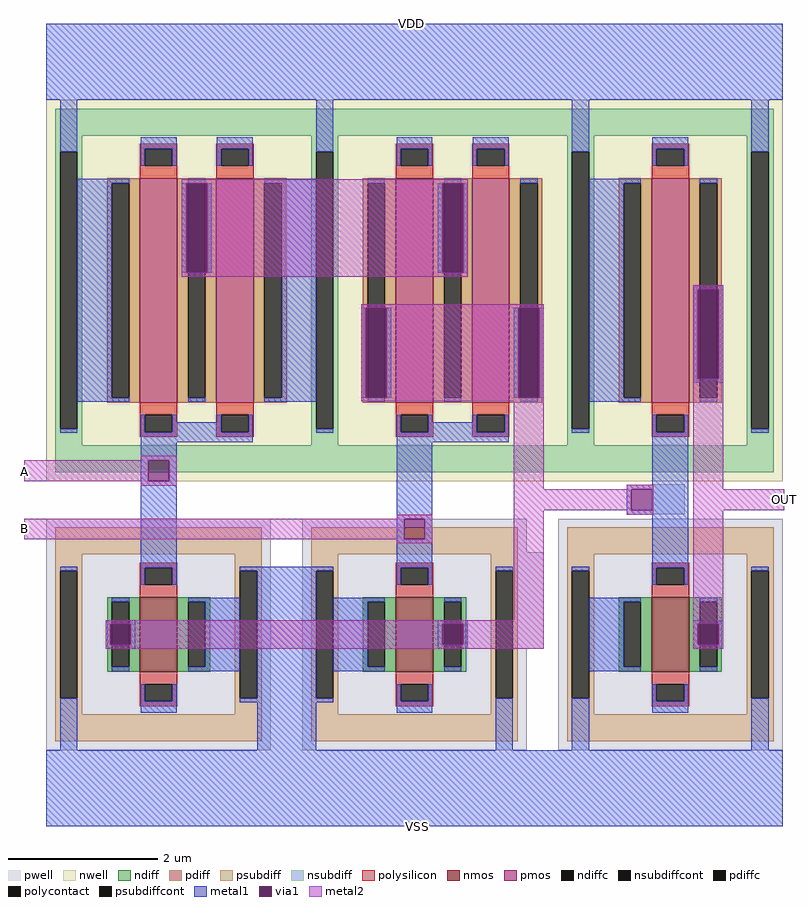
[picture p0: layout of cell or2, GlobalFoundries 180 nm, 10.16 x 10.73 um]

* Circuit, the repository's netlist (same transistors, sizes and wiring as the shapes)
* NGSPICE file created from or2.ext - technology: gf180mcuD

.subckt nor2 VDD VSS OUT A B
X0 a_2130_n110# A VDD VDD pfet_03v3 ad=0.78p pd=3.52u as=1.32p ps=6.88u w=3u l=0.5u
X1 OUT B VSS VSS nfet_03v3 ad=0.44p pd=2.88u as=0.44p ps=2.88u w=1u l=0.5u
X2 VSS A OUT VSS nfet_03v3 ad=0.44p pd=2.88u as=0.44p ps=2.88u w=1u l=0.5u
X3 OUT B a_2130_n110# VDD pfet_03v3 ad=1.32p pd=6.88u as=0.78p ps=3.52u w=3u l=0.5u
X4 VDD A a_2130_n110# VDD pfet_03v3 ad=1.32p pd=6.88u as=0.78p ps=3.52u w=3u l=0.5u
X5 a_2130_n110# B OUT VDD pfet_03v3 ad=0.78p pd=3.52u as=1.32p ps=6.88u w=3u l=0.5u
.ends

.subckt inv2 in vdd out vss
X0 out in vdd vdd pfet_03v3 ad=1.32p pd=6.88u as=1.32p ps=6.88u w=3u l=0.5u
X1 out in vss vss nfet_03v3 ad=0.44p pd=2.88u as=0.44p ps=2.88u w=1u l=0.5u
.ends

.subckt or2 VDD VSS OUT A B
Xnor2_0 VDD VSS inv2_0/in A B nor2
Xinv2_0 inv2_0/in VDD OUT VSS inv2
.ends

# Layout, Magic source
magic
tech gf180mcuD
magscale 1 10
<< metal1 >>
rect 106 2400 2074 2403
rect 1389 260 1487 460
rect 106 257 2074 260
<< metal2 >>
rect 46 1180 50 1236
rect 2074 1102 2078 1158
rect 46 1024 50 1080
use inv2  inv2_0
transform 1 0 224 0 1 1630
box 1250 -1370 1850 770
use nor2  nor2_0
transform 1 0 -1674 0 1 1500
box 1724 -1240 3268 900
<< labels >>
rlabel metal1 1083 2403 1083 2403 1 VDD
port 0 n
rlabel metal1 1098 257 1098 257 5 VSS
port 1 s
rlabel metal2 2078 1130 2078 1130 3 OUT
port 2 e
rlabel metal2 46 1207 46 1207 7 A
port 3 w
rlabel metal2 46 1052 46 1052 7 B
port 4 w
<< end >>

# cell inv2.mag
magic
tech gf180mcuD
magscale 1 10
<< nwell >>
rect 1250 -450 1850 570
<< pwell >>
rect 1502 -539 1588 -459
rect 1250 -1170 1850 -550
<< nmos >>
rect 1500 -960 1600 -760
<< pmos >>
rect 1500 -240 1600 360
<< ndiff >>
rect 1412 -773 1500 -760
rect 1412 -947 1425 -773
rect 1471 -947 1500 -773
rect 1412 -960 1500 -947
rect 1600 -773 1688 -760
rect 1600 -947 1629 -773
rect 1675 -947 1688 -773
rect 1600 -960 1688 -947
<< pdiff >>
rect 1412 347 1500 360
rect 1412 -227 1425 347
rect 1471 -227 1500 347
rect 1412 -240 1500 -227
rect 1600 347 1688 360
rect 1600 -227 1629 347
rect 1675 -227 1688 347
rect 1600 -240 1688 -227
<< ndiffc >>
rect 1425 -947 1471 -773
rect 1629 -947 1675 -773
<< pdiffc >>
rect 1425 -227 1471 347
rect 1629 -227 1675 347
<< psubdiff >>
rect 1274 -646 1826 -574
rect 1274 -690 1346 -646
rect 1274 -1030 1287 -690
rect 1333 -1030 1346 -690
rect 1754 -690 1826 -646
rect 1274 -1074 1346 -1030
rect 1754 -1030 1767 -690
rect 1813 -1030 1826 -690
rect 1754 -1074 1826 -1030
rect 1274 -1146 1826 -1074
<< nsubdiff >>
rect 1274 474 1826 546
rect 1274 430 1346 474
rect 1274 -310 1287 430
rect 1333 -310 1346 430
rect 1754 430 1826 474
rect 1274 -354 1346 -310
rect 1754 -310 1767 430
rect 1813 -310 1826 430
rect 1754 -354 1826 -310
rect 1274 -426 1826 -354
<< psubdiffcont >>
rect 1287 -1030 1333 -690
rect 1767 -1030 1813 -690
<< nsubdiffcont >>
rect 1287 -310 1333 430
rect 1767 -310 1813 430
<< polysilicon >>
rect 1500 439 1600 452
rect 1500 393 1513 439
rect 1587 393 1600 439
rect 1500 360 1600 393
rect 1500 -273 1600 -240
rect 1500 -319 1513 -273
rect 1587 -319 1600 -273
rect 1500 -332 1600 -319
rect 1500 -681 1600 -668
rect 1500 -727 1513 -681
rect 1587 -727 1600 -681
rect 1500 -760 1600 -727
rect 1500 -993 1600 -960
rect 1500 -1039 1513 -993
rect 1587 -1039 1600 -993
rect 1500 -1052 1600 -1039
<< polycontact >>
rect 1513 393 1587 439
rect 1513 -319 1587 -273
rect 1513 -727 1587 -681
rect 1513 -1039 1587 -993
<< metal1 >>
rect 1250 570 1850 770
rect 1287 430 1333 570
rect 1502 439 1598 470
rect 1502 393 1513 439
rect 1587 393 1598 439
rect 1767 430 1813 570
rect 1333 347 1471 358
rect 1333 -227 1425 347
rect 1629 347 1675 358
rect 1612 63 1629 73
rect 1675 63 1692 73
rect 1612 -177 1624 63
rect 1680 -177 1692 63
rect 1612 -187 1629 -177
rect 1333 -238 1471 -227
rect 1675 -187 1692 -177
rect 1629 -238 1675 -227
rect 1287 -321 1333 -310
rect 1502 -319 1513 -273
rect 1587 -319 1598 -273
rect 1502 -460 1598 -319
rect 1767 -321 1813 -310
rect 1434 -472 1598 -460
rect 1434 -528 1446 -472
rect 1502 -528 1598 -472
rect 1434 -540 1598 -528
rect 1287 -690 1333 -679
rect 1502 -681 1598 -540
rect 1502 -727 1513 -681
rect 1587 -727 1598 -681
rect 1767 -690 1813 -679
rect 1333 -773 1471 -762
rect 1333 -947 1425 -773
rect 1629 -773 1675 -762
rect 1612 -832 1629 -822
rect 1675 -832 1692 -822
rect 1612 -888 1624 -832
rect 1680 -888 1692 -832
rect 1612 -898 1629 -888
rect 1333 -958 1471 -947
rect 1675 -898 1692 -888
rect 1629 -958 1675 -947
rect 1287 -1170 1333 -1030
rect 1502 -1039 1513 -993
rect 1587 -1039 1598 -993
rect 1502 -1070 1598 -1039
rect 1767 -1170 1813 -1030
rect 1250 -1370 1850 -1170
<< via1 >>
rect 1624 -177 1629 63
rect 1629 -177 1675 63
rect 1675 -177 1680 63
rect 1446 -528 1502 -472
rect 1624 -888 1629 -832
rect 1629 -888 1675 -832
rect 1675 -888 1680 -832
<< metal2 >>
rect 1612 63 1692 73
rect 1612 -177 1624 63
rect 1680 -177 1692 63
rect 1434 -472 1504 -460
rect 1250 -528 1446 -472
rect 1502 -528 1504 -472
rect 1434 -540 1504 -528
rect 1612 -472 1692 -177
rect 1612 -528 1850 -472
rect 1612 -832 1692 -528
rect 1612 -888 1624 -832
rect 1680 -888 1692 -832
rect 1612 -898 1692 -888
<< labels >>
rlabel metal2 1250 -499 1250 -499 7 in
port 0 w
rlabel metal1 1545 770 1545 770 1 vdd
port 1 n
rlabel metal2 1850 -499 1850 -499 3 out
port 2 e
rlabel metal1 1555 -1370 1555 -1370 5 vss
port 3 s
<< end >>

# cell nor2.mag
magic
tech gf180mcuD
magscale 1 10
<< nwell >>
rect 1780 -320 3268 700
<< pwell >>
rect 1780 -1040 2380 -420
rect 2464 -510 3064 -420
rect 2464 -768 3110 -510
rect 2464 -1040 3064 -768
<< nmos >>
rect 2030 -830 2130 -630
rect 2714 -830 2814 -630
<< pmos >>
rect 2030 -110 2130 490
rect 2234 -110 2334 490
rect 2714 -110 2814 490
rect 2918 -110 3018 490
<< ndiff >>
rect 1942 -643 2030 -630
rect 1942 -817 1955 -643
rect 2001 -817 2030 -643
rect 1942 -830 2030 -817
rect 2130 -643 2218 -630
rect 2130 -817 2159 -643
rect 2205 -817 2218 -643
rect 2130 -830 2218 -817
rect 2626 -643 2714 -630
rect 2626 -817 2639 -643
rect 2685 -817 2714 -643
rect 2626 -830 2714 -817
rect 2814 -643 2902 -630
rect 2814 -817 2843 -643
rect 2889 -817 2902 -643
rect 2814 -830 2902 -817
<< pdiff >>
rect 1942 477 2030 490
rect 1942 -97 1955 477
rect 2001 -97 2030 477
rect 1942 -110 2030 -97
rect 2130 477 2234 490
rect 2130 -97 2159 477
rect 2205 -97 2234 477
rect 2130 -110 2234 -97
rect 2334 477 2422 490
rect 2334 -97 2363 477
rect 2409 -97 2422 477
rect 2334 -110 2422 -97
rect 2626 477 2714 490
rect 2626 -97 2639 477
rect 2685 -97 2714 477
rect 2626 -110 2714 -97
rect 2814 477 2918 490
rect 2814 -97 2843 477
rect 2889 -97 2918 477
rect 2814 -110 2918 -97
rect 3018 477 3106 490
rect 3018 -97 3047 477
rect 3093 -97 3106 477
rect 3018 -110 3106 -97
<< ndiffc >>
rect 1955 -817 2001 -643
rect 2159 -817 2205 -643
rect 2639 -817 2685 -643
rect 2843 -817 2889 -643
<< pdiffc >>
rect 1955 -97 2001 477
rect 2159 -97 2205 477
rect 2363 -97 2409 477
rect 2639 -97 2685 477
rect 2843 -97 2889 477
rect 3047 -97 3093 477
<< psubdiff >>
rect 1804 -516 2356 -444
rect 1804 -560 1876 -516
rect 1804 -900 1817 -560
rect 1863 -900 1876 -560
rect 2284 -560 2356 -516
rect 1804 -944 1876 -900
rect 2284 -900 2297 -560
rect 2343 -900 2356 -560
rect 2284 -944 2356 -900
rect 1804 -1016 2356 -944
rect 2488 -516 3040 -444
rect 2488 -560 2560 -516
rect 2488 -900 2501 -560
rect 2547 -900 2560 -560
rect 2968 -560 3040 -516
rect 2488 -944 2560 -900
rect 2968 -900 2981 -560
rect 3027 -900 3040 -560
rect 2968 -944 3040 -900
rect 2488 -1016 3040 -944
<< nsubdiff >>
rect 1804 604 3244 676
rect 1804 560 1876 604
rect 1804 -180 1817 560
rect 1863 -180 1876 560
rect 2488 560 2560 604
rect 1804 -224 1876 -180
rect 2488 -180 2501 560
rect 2547 -180 2560 560
rect 3172 560 3244 604
rect 2488 -224 2560 -180
rect 3172 -180 3185 560
rect 3231 -180 3244 560
rect 3172 -224 3244 -180
rect 1804 -296 3244 -224
<< psubdiffcont >>
rect 1817 -900 1863 -560
rect 2297 -900 2343 -560
rect 2501 -900 2547 -560
rect 2981 -900 3027 -560
<< nsubdiffcont >>
rect 1817 -180 1863 560
rect 2501 -180 2547 560
rect 3185 -180 3231 560
<< polysilicon >>
rect 2030 569 2130 582
rect 2030 523 2043 569
rect 2117 523 2130 569
rect 2030 490 2130 523
rect 2234 569 2334 582
rect 2234 523 2247 569
rect 2321 523 2334 569
rect 2234 490 2334 523
rect 2030 -143 2130 -110
rect 2030 -189 2043 -143
rect 2117 -189 2130 -143
rect 2030 -202 2130 -189
rect 2234 -143 2334 -110
rect 2234 -189 2247 -143
rect 2321 -189 2334 -143
rect 2234 -202 2334 -189
rect 2714 569 2814 582
rect 2714 523 2727 569
rect 2801 523 2814 569
rect 2714 490 2814 523
rect 2918 569 3018 582
rect 2918 523 2931 569
rect 3005 523 3018 569
rect 2918 490 3018 523
rect 2714 -143 2814 -110
rect 2714 -189 2727 -143
rect 2801 -189 2814 -143
rect 2714 -202 2814 -189
rect 2918 -143 3018 -110
rect 2918 -189 2931 -143
rect 3005 -189 3018 -143
rect 2918 -202 3018 -189
rect 2030 -551 2130 -538
rect 2030 -597 2043 -551
rect 2117 -597 2130 -551
rect 2030 -630 2130 -597
rect 2030 -863 2130 -830
rect 2030 -909 2043 -863
rect 2117 -909 2130 -863
rect 2030 -922 2130 -909
rect 2714 -551 2814 -538
rect 2714 -597 2727 -551
rect 2801 -597 2814 -551
rect 2714 -630 2814 -597
rect 2714 -863 2814 -830
rect 2714 -909 2727 -863
rect 2801 -909 2814 -863
rect 2714 -922 2814 -909
<< polycontact >>
rect 2043 523 2117 569
rect 2247 523 2321 569
rect 2043 -189 2117 -143
rect 2247 -189 2321 -143
rect 2727 523 2801 569
rect 2931 523 3005 569
rect 2727 -189 2801 -143
rect 2931 -189 3005 -143
rect 2043 -597 2117 -551
rect 2043 -909 2117 -863
rect 2727 -597 2801 -551
rect 2727 -909 2801 -863
<< metal1 >>
rect 1780 700 3268 900
rect 1817 560 1863 700
rect 2032 569 2128 600
rect 2032 523 2043 569
rect 2117 523 2128 569
rect 2236 569 2332 600
rect 2236 523 2247 569
rect 2321 523 2332 569
rect 2501 560 2547 700
rect 1863 477 2001 488
rect 2159 477 2205 488
rect 2363 477 2501 488
rect 1863 -97 1955 477
rect 2142 237 2154 477
rect 2210 237 2222 477
rect 1863 -108 2001 -97
rect 2159 -108 2205 -97
rect 2409 -97 2501 477
rect 2363 -108 2501 -97
rect 1817 -191 1863 -180
rect 2032 -189 2043 -143
rect 2117 -163 2128 -143
rect 2236 -163 2247 -143
rect 2117 -189 2247 -163
rect 2321 -189 2332 -143
rect 2032 -216 2332 -189
rect 2716 569 2812 600
rect 2716 523 2727 569
rect 2801 523 2812 569
rect 2920 569 3016 600
rect 2920 523 2931 569
rect 3005 523 3016 569
rect 3185 560 3231 700
rect 2639 477 2685 488
rect 2843 477 2889 488
rect 3047 477 3093 488
rect 2826 237 2838 477
rect 2894 237 2906 477
rect 2622 -97 2634 143
rect 2690 -97 2702 143
rect 3030 -97 3042 143
rect 3098 -97 3110 143
rect 2639 -108 2685 -97
rect 2843 -108 2889 -97
rect 3047 -108 3093 -97
rect 2501 -191 2547 -180
rect 2716 -189 2727 -143
rect 2801 -163 2812 -143
rect 2920 -163 2931 -143
rect 2801 -189 2931 -163
rect 3005 -189 3016 -143
rect 2716 -216 3016 -189
rect 3185 -191 3231 -180
rect 2032 -264 2128 -216
rect 2032 -320 2052 -264
rect 2108 -320 2128 -264
rect 1817 -560 1863 -549
rect 2032 -551 2128 -320
rect 2716 -420 2812 -216
rect 2716 -476 2736 -420
rect 2792 -476 2812 -420
rect 2032 -597 2043 -551
rect 2117 -597 2128 -551
rect 2297 -560 2547 -549
rect 1955 -643 2001 -632
rect 1938 -702 1955 -692
rect 2159 -643 2297 -632
rect 2001 -702 2018 -692
rect 1938 -758 1950 -702
rect 2006 -758 2018 -702
rect 1938 -768 1955 -758
rect 2001 -768 2018 -758
rect 1955 -828 2001 -817
rect 2205 -817 2297 -643
rect 2159 -828 2297 -817
rect 1817 -1040 1863 -900
rect 2032 -909 2043 -863
rect 2117 -909 2128 -863
rect 2032 -940 2128 -909
rect 2343 -900 2501 -560
rect 2716 -551 2812 -476
rect 2716 -597 2727 -551
rect 2801 -597 2812 -551
rect 2981 -560 3027 -549
rect 2547 -643 2685 -632
rect 2547 -817 2639 -643
rect 2843 -643 2889 -632
rect 2826 -702 2843 -692
rect 2889 -702 2906 -692
rect 2826 -758 2838 -702
rect 2894 -758 2906 -702
rect 2826 -768 2843 -758
rect 2547 -828 2685 -817
rect 2889 -768 2906 -758
rect 2843 -828 2889 -817
rect 2297 -911 2547 -900
rect 2716 -909 2727 -863
rect 2801 -909 2812 -863
rect 2343 -1040 2501 -911
rect 2716 -940 2812 -909
rect 2981 -1040 3027 -900
rect 1780 -1240 3064 -1040
<< via1 >>
rect 2154 237 2159 477
rect 2159 237 2205 477
rect 2205 237 2210 477
rect 2838 237 2843 477
rect 2843 237 2889 477
rect 2889 237 2894 477
rect 2634 -97 2639 143
rect 2639 -97 2685 143
rect 2685 -97 2690 143
rect 3042 -97 3047 143
rect 3047 -97 3093 143
rect 3093 -97 3098 143
rect 2052 -320 2108 -264
rect 2736 -476 2792 -420
rect 1950 -758 1955 -702
rect 1955 -758 2001 -702
rect 2001 -758 2006 -702
rect 2838 -758 2843 -702
rect 2843 -758 2889 -702
rect 2889 -758 2894 -702
<< metal2 >>
rect 2142 477 2906 487
rect 2142 237 2154 477
rect 2210 237 2838 477
rect 2894 237 2906 477
rect 2142 227 2906 237
rect 2622 143 3110 153
rect 2622 -97 2634 143
rect 2690 -97 3042 143
rect 3098 -97 3110 143
rect 2622 -107 3110 -97
rect 2032 -264 2128 -252
rect 1724 -320 2052 -264
rect 2108 -320 2128 -264
rect 2032 -332 2128 -320
rect 3030 -342 3110 -107
rect 3030 -398 3268 -342
rect 2716 -420 2812 -410
rect 1724 -476 2736 -420
rect 2792 -476 2812 -420
rect 2716 -486 2812 -476
rect 3030 -692 3110 -398
rect 1938 -702 3110 -692
rect 1938 -758 1950 -702
rect 2006 -758 2838 -702
rect 2894 -758 3110 -702
rect 1938 -768 3110 -758
<< labels >>
rlabel metal1 2525 900 2525 900 1 VDD
port 0 n
rlabel metal1 2418 -1240 2418 -1240 5 VSS
port 1 s
rlabel metal2 3268 -371 3268 -371 3 OUT
port 2 e
rlabel metal2 1724 -291 1724 -291 7 A
port 3 w
rlabel metal2 1724 -448 1724 -448 7 B
port 4 w
<< end >>
